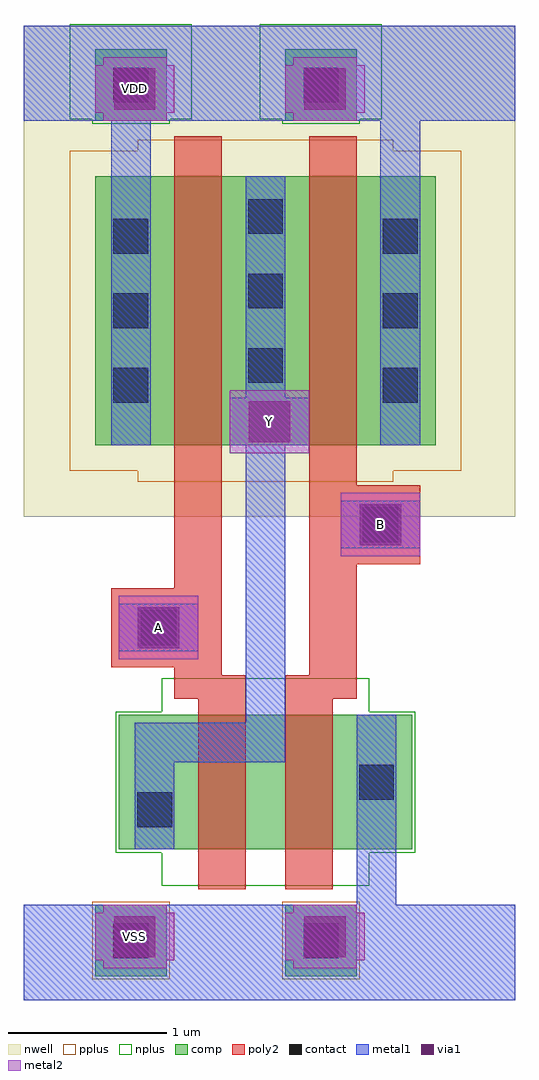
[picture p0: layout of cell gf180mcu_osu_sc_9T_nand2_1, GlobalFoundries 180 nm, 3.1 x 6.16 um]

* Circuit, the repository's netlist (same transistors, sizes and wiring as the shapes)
* Copyright 2022 Google LLC
*
* Licensed under the Apache License, Version 2.0 (the "License");
* you may not use this file except in compliance with the License.
* You may obtain a copy of the License at
*
*      http://www.apache.org/licenses/LICENSE-2.0
*
* Unless required by applicable law or agreed to in writing, software
* distributed under the License is distributed on an "AS IS" BASIS,
* WITHOUT WARRANTIES OR CONDITIONS OF ANY KIND, either express or implied.
* See the License for the specific language governing permissions and
* limitations under the License.

.option scale=0.05u

.subckt gf180mcu_osu_sc_9T_nand2_1 A B Y
X0 VDD B Y VDD pmos_3p3 w=34 l=6
X1 Y A VDD VDD pmos_3p3 w=34 l=6
X2 a_28_19 A Y VSS nmos_3p3 w=17 l=6
X3 VSS B a_28_19 VSS nmos_3p3 w=17 l=6
.ends

** hspice subcircuit dictionary

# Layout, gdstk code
import gdstk
lib = gdstk.Library(unit=1e-6, precision=1e-09)
def R(c, l, rs):  # rectangles x0, y0, x1, y1
    for r in rs: c.add(gdstk.rectangle(r[:2], r[2:], *l))
def A(c, l, x, y, w, h, nx, ny, dx, dy):  # array of equal rectangles
    R(c, l, [(x+i*dx, y+j*dy, x+i*dx+w, y+j*dy+h) for i in range(nx) for j in range(ny)])
nwell = (21, 0)
comp = (22, 0)
poly2 = (30, 0)
pplus = (31, 0)
nplus = (32, 0)
contact = (33, 0)
metal1 = (34, 0)
via1 = (35, 0)
metal2 = (36, 0)

gf180mcu_osu_sc_9t_nand2 = lib.new_cell('gf180mcu_osu_sc_9T_nand2_1')
R(gf180mcu_osu_sc_9t_nand2, nwell, [(0,3.05,3.1,6.15)])
R(gf180mcu_osu_sc_9t_nand2, comp, [(0.45,0.15,0.9,0.6), (1.65,0.15,2.1,0.6), (0.6,0.95,2.45,1.8), (0.45,3.5,2.6,5.2), (0.45,5.55,0.9,6), (1.65,5.55,2.1,6)])
R(gf180mcu_osu_sc_9t_nand2, poly2, [(1.1,0.7,1.4,1.9), (1.65,0.7,1.95,1.9), (0.95,1.9,1.4,2.05), (1.65,1.9,2.1,2.05), (0.95,2.05,1.25,2.1), (1.8,2.05,2.1,2.75), (0.55,2.1,1.25,2.6), (0.95,2.6,1.25,5.45), (1.8,2.75,2.5,3.25), (1.8,3.25,2.1,5.45)])
R(gf180mcu_osu_sc_9t_nand2, pplus, [(0.43,0.13,0.92,0.62), (1.63,0.13,2.12,0.62), (0.72,3.27,2.33,3.34), (0.29,3.34,2.76,5.36), (0.72,5.36,2.33,5.43)])
R(gf180mcu_osu_sc_9t_nand2, nplus, [(0.87,0.72,2.18,0.93), (0.58,0.93,2.47,1.82), (0.87,1.82,2.18,2.03), (0.43,5.53,0.92,5.56), (1.63,5.53,2.12,5.56), (0.29,5.56,1.06,6.16), (1.49,5.56,2.26,6.16)])
A(gf180mcu_osu_sc_9t_nand2, contact, 0.565, 3.77, 0.22, 0.22, 1, 3, 0, 0.47)
A(gf180mcu_osu_sc_9t_nand2, contact, 2.265, 3.77, 0.22, 0.22, 1, 3, 0, 0.47)
A(gf180mcu_osu_sc_9t_nand2, contact, 1.415, 3.895, 0.22, 0.22, 1, 3, 0, 0.47)
R(gf180mcu_osu_sc_9t_nand2, contact, [(0.565,0.265,0.785,0.485), (1.765,0.265,1.985,0.485), (0.715,1.09,0.935,1.31), (2.115,1.265,2.335,1.485), (0.74,2.24,0.96,2.46), (2.14,2.89,2.36,3.11), (0.565,5.665,0.785,5.885), (1.765,5.665,1.985,5.885)])
R(gf180mcu_osu_sc_9t_nand2, metal1, [(0,0,3.1,0.6), (2.1,0.6,2.35,1.8), (0.7,0.95,0.95,1.5), (0.7,1.5,1.65,1.75), (1.4,1.75,1.65,3.5), (0.6,2.2,1.1,2.5), (2,2.85,2.5,3.15), (0.55,3.5,0.8,5.55), (1.3,3.5,1.8,3.8), (2.25,3.5,2.5,5.55), (1.4,3.8,1.65,5.2), (0,5.55,3.1,6.15)])
R(gf180mcu_osu_sc_9t_nand2, via1, [(0.57,0.27,0.83,0.53), (1.77,0.27,2.03,0.53), (0.72,2.22,0.98,2.48), (2.12,2.87,2.38,3.13), (1.42,3.52,1.68,3.78), (0.57,5.62,0.83,5.88), (1.77,5.62,2.03,5.88)])
R(gf180mcu_osu_sc_9t_nand2, metal2, [(0.5,0.2,0.9,0.25), (1.7,0.2,2.1,0.25), (0.45,0.25,0.95,0.55), (1.65,0.25,2.15,0.55), (0.5,0.55,0.9,0.6), (1.7,0.55,2.1,0.6), (0.6,2.15,1.1,2.55), (2,2.8,2.5,3.2), (1.3,3.45,1.8,3.85), (0.5,5.55,0.9,5.6), (1.7,5.55,2.1,5.6), (0.45,5.6,0.95,5.9), (1.65,5.6,2.15,5.9), (0.5,5.9,0.9,5.95), (1.7,5.9,2.1,5.95)])
gf180mcu_osu_sc_9t_nand2.add(gdstk.Label('VDD', (0.7,5.75), layer=36, texttype=0))
gf180mcu_osu_sc_9t_nand2.add(gdstk.Label('VSS', (0.7,0.4), layer=36, texttype=0))
gf180mcu_osu_sc_9t_nand2.add(gdstk.Label('A', (0.85,2.35), layer=36, texttype=10))
gf180mcu_osu_sc_9t_nand2.add(gdstk.Label('B', (2.25,3), layer=36, texttype=10))
gf180mcu_osu_sc_9t_nand2.add(gdstk.Label('Y', (1.55,3.65), layer=36, texttype=10))

lib.write_gds('gf180mcu_osu_sc_9T_nand2_1.gds')
